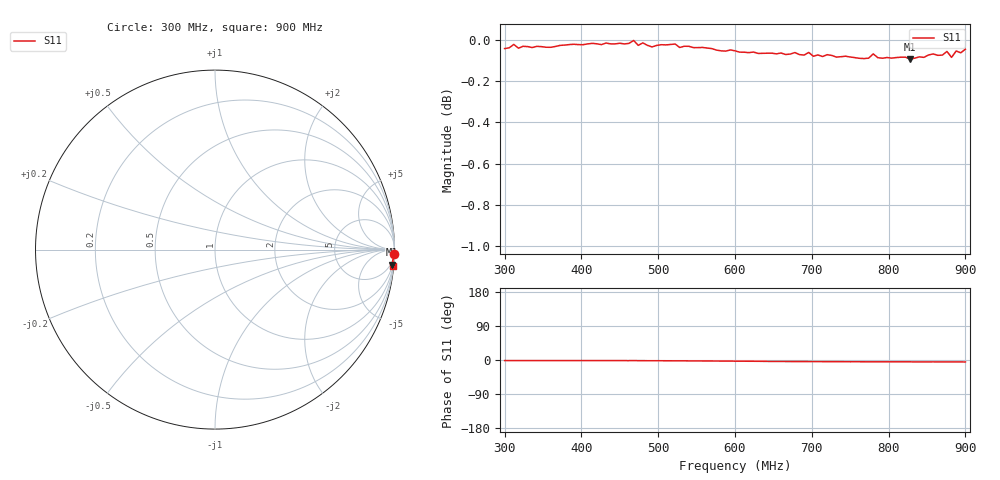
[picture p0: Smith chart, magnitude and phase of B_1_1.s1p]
# HZ S RI R 50
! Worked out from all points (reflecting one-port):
!   101 points, 300 MHz to 900 MHz, reference 50 ohm
!   lowest |S11| = -0.1 dB at 828 MHz (marker M1), VSWR 189.60, Z = 144 - j1.16e+03 ohm
!   phase of S11 starts at -2 deg and turns -4 deg over the sweep
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3e8  0.995 -0.0265
3.12e8  0.9973 -0.0271
3.18e8  0.9952 -0.0269
3.78e8  0.9969 -0.0257
4.02e8  0.9972 -0.0248
4.5e8  0.9979 -0.0282
4.62e8  0.9978 -0.0295
4.68e8  0.9996 -0.0243
4.74e8  0.9967 -0.0302
4.98e8  0.9966 -0.0326
5.22e8  0.9972 -0.0377
5.28e8  0.9952 -0.0376
6e8  0.9927 -0.0525
6.78e8  0.9906 -0.0704
7.5e8  0.9874 -0.0802
7.74e8  0.9866 -0.0814
7.8e8  0.9889 -0.0825
7.86e8  0.9869 -0.0819
8.28e8  0.9859 -0.084
8.34e8  0.9862 -0.0869
8.52e8  0.9879 -0.0878
8.58e8  0.9887 -0.0848
8.64e8  0.9877 -0.0872
8.76e8  0.99 -0.0856
8.82e8  0.9865 -0.0883
8.88e8  0.99 -0.0882
8.94e8  0.989 -0.0891
9e8  0.9909 -0.0897
